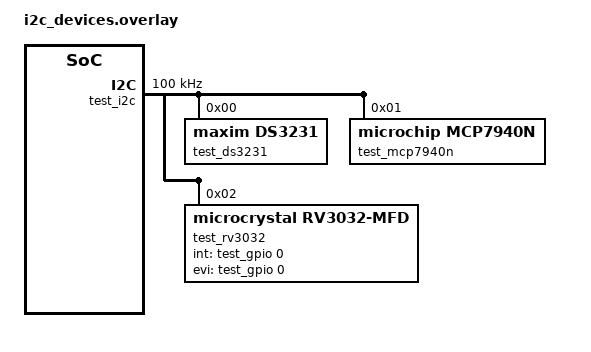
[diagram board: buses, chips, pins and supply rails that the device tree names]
/*
 * Copyright (c) 2024 TOKITA Hiroshi
 * SPDX-License-Identifier: Apache-2.0
 */

/ {
	test {
		#address-cells = <1>;
		#size-cells = <1>;

		test_gpio: gpio@deadbeef {
			compatible = "vnd,gpio";
			gpio-controller;
			reg = <0xdeadbeef 0x1000>;
			#gpio-cells = <0x2>;
			status = "okay";
		};

		test_i2c: i2c@11112222 {
			#address-cells = <1>;
			#size-cells = <0>;
			compatible = "vnd,i2c";
			reg = <0x11112222 0x1000>;
			status = "okay";
			clock-frequency = <100000>;

			test_ds3231: ds3231@0 {
				compatible = "maxim,ds3231";
				status = "okay";
				reg = <0x0>;
			};

			test_mcp7940n: mcp7940n@1 {
				compatible = "microchip,mcp7940n";
				status = "okay";
				reg = <0x1>;
			};

			test_rv3032: rv3032c7@2 {
				compatible = "microcrystal,rv3032-mfd";
				reg = <0x2>;
				int-gpios = <&test_gpio 0 0>;
				evi-gpios = <&test_gpio 0 0>;
				backup-switch-mode = "disabled";
				always-on;
				status = "okay";

				test_rv3032_counter: rv3032_counter {
					compatible = "microcrystal,rv3032-counter";
					frequency = <1>;
					status = "okay";
				};
			};
		};
	};
};
